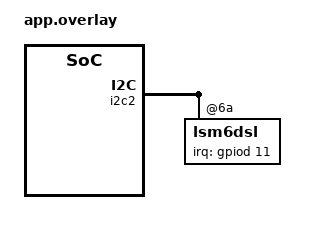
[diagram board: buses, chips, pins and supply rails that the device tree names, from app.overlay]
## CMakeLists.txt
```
# SPDX-License-Identifier: Apache-2.0

cmake_minimum_required(VERSION 3.20.0)
find_package(Zephyr REQUIRED HINTS $ENV{ZEPHYR_BASE})
project(blinky)

target_sources(app PRIVATE src/main.c
                src/ble_manager.c
                src/nvs_manager.c)
```

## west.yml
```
manifest:
  version: "0.13"

  remotes:
    - name: zephyrproject
      url-base: https://github.com/zephyrproject-rtos

  projects:
    - name: zephyr
      remote: zephyrproject
      revision: v4.3.0
      import: true

  self:
    path: .
```

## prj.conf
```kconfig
# Essential config
CONFIG_GPIO=y
CONFIG_SERIAL=y
CONFIG_PRINTK=y
CONFIG_NEWLIB_LIBC=y
CONFIG_PICOLIBC=n
CONFIG_STDOUT_CONSOLE=y


# Required for printing sensor values (float support)
CONFIG_CBPRINTF_FP_SUPPORT=y

# Sensors config
CONFIG_SENSOR=y
CONFIG_I2C=y
CONFIG_HTS221=y
CONFIG_LSM6DSL=y
CONFIG_LSM6DSL_TRIGGER_GLOBAL_THREAD=y      #Trigger = Interrupt mode

# Bluetooth config
CONFIG_BT=y
CONFIG_BT_PERIPHERAL=y
CONFIG_BT_DEVICE_NAME="SentriNode_v1"
CONFIG_BT_GATT_CLIENT=y

# NVS and Flash config
CONFIG_FLASH=y
CONFIG_FLASH_MAP=y
CONFIG_NVS=y
CONFIG_MPU_ALLOW_FLASH_WRITE=y
CONFIG_SOC_FLASH_STM32=y
CONFIG_FLASH_PAGE_LAYOUT=y

# Enable logging
CONFIG_LOG=y
CONFIG_NVS_LOG_LEVEL_DBG=y

# Enable Thread Analyzer
# CONFIG_THREAD_ANALYZER=y
# CONFIG_THREAD_ANALYZER_USE_PRINTK=y
# CONFIG_THREAD_ANALYZER_AUTO=y
# CONFIG_THREAD_ANALYZER_AUTO_INTERVAL=30

# # Required for thread names and timing
# CONFIG_THREAD_NAME=y
# CONFIG_SCHED_THREAD_USAGE=y
# CONFIG_SCHED_THREAD_USAGE_ALL=y
```

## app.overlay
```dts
&i2c2 {
    status="okay";
    lsm6dsl: lsm6dsl@6a {
		irq-gpios = <&gpiod 11 GPIO_ACTIVE_HIGH>;
	};
};

&flash0 {
    status="okay";
};
```

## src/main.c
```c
#include <math.h>
#include <zephyr/sys/atomic.h>
#include "ble_manager.h"
#include "nvs_manager.h"
#include <zephyr/drivers/gpio.h>

#define SECURITY_PRIO 5     // Higher priority
#define ENV_PRIO      7
#define STACK_SIZE    1024

#define LED0_NODE DT_ALIAS(led0)
#define LED1_NODE DT_ALIAS(led1)

K_SEM_DEFINE(tamper_sem, 0, 1); // Starts at 0, max 1

static int lsm6dsl_trig_cnt = 0;

enum system_state {
    STATE_INITIALIZING,
    STATE_SENSING,
    STATE_TAMPER
};

enum system_event {
    EVENT_NONE,
    EVENT_SENSOR_UPDATE,
    EVENT_TAMPER_DETECTED
};

// Define the system event queue.
struct system_event_queue {
    enum system_event type;
};

K_MSGQ_DEFINE(sys_event_q, sizeof(struct system_event_queue), 10, 4);

void env_thread_entry(void *p1, void *p2, void *p3) 
{
    /* const struct device *dev = (const struct device *)p1;
    struct sensor_value temperature, humidity;
    int ret; */
    while(1)
    {
        struct system_event_queue evt = { .type = EVENT_SENSOR_UPDATE };
        k_msgq_put(&sys_event_q, &evt, K_NO_WAIT);
        // hts221 logic here, polling mode for hts221.
        /* ret = sensor_sample_fetch(dev);
        sensor_channel_get(dev, SENSOR_CHAN_AMBIENT_TEMP, &temperature);
        sensor_channel_get(dev, SENSOR_CHAN_HUMIDITY, &humidity);

        double temp = sensor_value_to_double(&temperature);
        double hum = sensor_value_to_double(&humidity);
        ble_temp = temp;
        ble_hum = hum;

        ble_notify_temp_hum(ble_temp, ble_hum); */

        // printk("Temp: %.2f deg celsius.\n", temp);
        // printk("Humidity: %.2f percent.\n", hum);

        k_sleep(K_MSEC(5000));
    }
}

void security_thread_entry(void *p1, void *p2, void *p3) 
{
    const struct device *dev = (const struct device *)p1;
    char out_str[64];
    static struct sensor_value accel_x, accel_y, accel_z;
	static struct sensor_value gyro_x, gyro_y, gyro_z;
    const double GRAVITY = 9.81;
    const double THRESHOLD = 2.5;
    int ret;
    while(1)
    {
        // lsm6dsl accelerometer logic for vibration, ISR to task offloading using semaphore.
        if (k_sem_take(&tamper_sem, K_FOREVER) == 0) {
            
            // 1. Capture detailed sensor data
            ret = sensor_sample_fetch(dev);
	        sensor_channel_get(dev, SENSOR_CHAN_ACCEL_X, &accel_x);
	        sensor_channel_get(dev, SENSOR_CHAN_ACCEL_Y, &accel_y);
	        sensor_channel_get(dev, SENSOR_CHAN_ACCEL_Z, &accel_z);

	        /* lsm6dsl gyro */
	        ret = sensor_sample_fetch(dev);
	        sensor_channel_get(dev, SENSOR_CHAN_GYRO_X, &gyro_x);
	        sensor_channel_get(dev, SENSOR_CHAN_GYRO_Y, &gyro_y);
	        sensor_channel_get(dev, SENSOR_CHAN_GYRO_Z, &gyro_z);

            // 2. Logic: Is this a real tamper or noise?
            double a_x = sensor_value_to_double(&accel_x);
            double a_y = sensor_value_to_double(&accel_y);
            double a_z = sensor_value_to_double(&accel_z);

            double magnitude = sqrt(a_x*a_x + a_y*a_y + a_z*a_z);
            double delta = fabs(magnitude - GRAVITY);

            if (delta > THRESHOLD) 
            {
                struct system_event_queue evt = { .type = EVENT_TAMPER_DETECTED };
                k_msgq_put(&sys_event_q, &evt, K_NO_WAIT);

                printk("Tamper Event: Interrupt received !\n");

                tamper_status = 1;
                // Increment the tamper_total_count, make it atomic operation.
                atomic_inc(&tamper_total_count);
                
                uint32_t tamper_count = (uint32_t)atomic_get(&tamper_total_count);
                // 3. BLE: Notify the Gateway
                ble_notify_tamper(tamper_status, (uint32_t)tamper_count);

                // Write to NVS
                // nvs_write_tamper_count((uint32_t*)tamper_count);
                // nvs_stress_test();
                nvs_write_data(NVS_TAMPER_COUNT_ID, &tamper_count, sizeof(tamper_count));

                printk("ALERT: Tamper detected! Delta: %.2f m/s^2  Count: %d\n", delta, tamper_total_count);

            }
            
            k_sleep(K_MSEC(1000));

            // Reset tamper_status 
            tamper_status = 0;
            // bt_gatt_notify(NULL, tamper_attr, &tamper_status, sizeof(tamper_status));
        }
    }
}

/* FSM functions */
void process_send_temp_hum(const struct device *dev)
{
    struct sensor_value temperature, humidity;
    int ret;

    // hts221 logic here, polling mode for hts221.
    ret = sensor_sample_fetch(dev);
    sensor_channel_get(dev, SENSOR_CHAN_AMBIENT_TEMP, &temperature);
    sensor_channel_get(dev, SENSOR_CHAN_HUMIDITY, &humidity);

    double temp = sensor_value_to_double(&temperature);
    double hum = sensor_value_to_double(&humidity);
    ble_temp = temp;
    ble_hum = hum;

    ble_notify_temp_hum(ble_temp, ble_hum);
}

void notify_store_tamper_event(void)
{
    tamper_status = 1;
    // Increment the tamper_total_count, make it atomic operation.
    atomic_inc(&tamper_total_count);
    
    uint32_t tamper_count = (uint32_t)atomic_get(&tamper_total_count);
    // 3. BLE: Notify the Gateway
    ble_notify_tamper(tamper_status, (uint32_t)tamper_count);

    // Write to NVS
    nvs_write_data(NVS_TAMPER_COUNT_ID, &tamper_count, sizeof(tamper_count));

    printk("ALERT: Tamper detected! Count: %d\n", tamper_total_count);
    
    // Reset tamper_status 
    tamper_status = 0;
    ble_notify_tamper(tamper_status, (uint32_t)tamper_count);
}

/* FSM functions end */

// Interrupt handler (ISR) for lsm6dsl accelerometer sensor.
static void lsm6dsl_trigger_handler(const struct device *dev,
                                    const struct sensor_trigger *trig)
{
    // Give the semaphore. Keeping it short here.
    k_sem_give(&tamper_sem);
    lsm6dsl_trig_cnt++;
}

static void lsm6dsl_trigger_config(const struct device *accel_dev)
{
    struct sensor_trigger trig;
    struct sensor_value odr;
    

    // Trigger interrupt on data ready.
    trig.type = SENSOR_TRIG_DATA_READY;
    trig.chan = SENSOR_CHAN_ACCEL_XYZ;

    odr.val1 = 104;
    odr.val2 = 0;


    if (sensor_attr_set(accel_dev, SENSOR_CHAN_ACCEL_XYZ, SENSOR_ATTR_SAMPLING_FREQUENCY, &odr) < 0) 
    {
        printk("Cannot set sampling frequency for accelerometer.\n");
        return 0;
    }

    if (sensor_attr_set(accel_dev, SENSOR_CHAN_GYRO_XYZ, SENSOR_ATTR_SAMPLING_FREQUENCY, &odr) < 0) 
    {
        printk("Cannot set sampling frequency for gyro.\n");
        return 0;
    }

    if (sensor_trigger_set(accel_dev, &trig, lsm6dsl_trigger_handler) != 0)
    {
        printk("Could not set sensor type and channel\n");
		return 0;
    }
}

// Define the two threads.
K_THREAD_DEFINE(env_id, STACK_SIZE, env_thread_entry, DEVICE_DT_GET_ONE(st_hts221), NULL, NULL, ENV_PRIO, 0, 0);
K_THREAD_DEFINE(sec_id, STACK_SIZE, security_thread_entry, DEVICE_DT_GET_ONE(st_lsm6dsl), NULL, NULL, SECURITY_PRIO, 0, 0);

int main(void) 
{
    int err;
    enum system_state current_state = STATE_INITIALIZING;

    printk("Starting up Sentrinode ...\n");
    const struct device *const lsm6dsl_dev = DEVICE_DT_GET_ONE(st_lsm6dsl);
    const struct device *const hts221_dev = DEVICE_DT_GET_ONE(st_hts221);
    static const struct gpio_dt_spec led0 = GPIO_DT_SPEC_GET(LED0_NODE, gpios);
    static const struct gpio_dt_spec led1 = GPIO_DT_SPEC_GET(LED1_NODE, gpios);

    if (!device_is_ready(lsm6dsl_dev)) {
		printk("Sensor: Accelerometer not ready.\n");
		return 0;
	}

    if (!device_is_ready(hts221_dev)) {
        printk("Sensor: Environment data sensor HTS221 not ready.\n");
        return 0;
    }

    if (!gpio_is_ready_dt(&led0)) {
        printk("LED0 device not ready\n");
        return 0;
	}

    if (!gpio_is_ready_dt(&led1)) {
        printk("LED1 device not ready\n");
        return 0;
	}

    int ret = gpio_pin_configure_dt(&led0, GPIO_OUTPUT_INACTIVE);
	if (ret < 0) {
		return 0;
	}

    ret = gpio_pin_configure_dt(&led1, GPIO_OUTPUT_INACTIVE);
	if (ret < 0) {
		return 0;
	}

    // Initialize the NVS
    init_nvs();

    uint32_t temp_buffer = 0xDEADBEEF; // Start with a "Magic Number"

    // 2. Capture the exact return code
    int rc = nvs_read_data(NVS_TAMPER_COUNT_ID, &temp_buffer, sizeof(temp_buffer));

    printk("--- NVS Diagnostic ---\n");
    printk("Return Code (rc): %d\n", rc);
    printk("Buffer Value Hex: 0x%08x\n", temp_buffer);
    printk("Buffer Value Dec: %u\n", temp_buffer);

    if (rc == sizeof(temp_buffer)) {
        tamper_total_count = temp_buffer;
        printk("NVS startup read: Success! Using stored value.\n");
    } else {
        tamper_total_count = 0;
        printk("NVS startup read: Failure/Not Found. Resetting to 0.\n");
    }
    printk("----------------------\n");

    lsm6dsl_trigger_config(lsm6dsl_dev);

    err = bt_enable(NULL);
    if (err) {
        printk("Bluetooth init failed (err %d)\n", err);
        return 0;
    }

    /* Start Advertising */
    err = bt_le_adv_start(BT_LE_ADV_CONN_FAST_2, ad, ARRAY_SIZE(ad), sd, ARRAY_SIZE(sd));
    if (err) {
            printk("Advertising failed to start (err %d)\n", err);
            return 0;
    }

    while(1) 
    {
        // Wait for an event from any thread
        struct system_event_queue evt;
        k_msgq_get(&sys_event_q, &evt, K_FOREVER);

        printk("Event received: %d\n", evt.type);
        switch (current_state)
        {        
        case STATE_INITIALIZING:
            printk("System State: INITIALIZING\n");
            if (evt.type == EVENT_SENSOR_UPDATE) {
                current_state = STATE_SENSING;
            } else if (evt.type == EVENT_TAMPER_DETECTED) {
                current_state = STATE_TAMPER;
            } else {
                // Stay in initializing until we get a valid event
            }
            break;
        case STATE_SENSING:
            printk("System State: SENSING\n");
            if (evt.type == EVENT_TAMPER_DETECTED) {
                current_state = STATE_TAMPER;
                gpio_pin_set_dt(&led0, 0); // Turn off LED0 to indicate state change
                gpio_pin_set_dt(&led1, 1); // Turn on LED1 to indicate tamper
            } else {
                // Stay in sensing state
                process_send_temp_hum(hts221_dev);
                gpio_pin_toggle_dt(&led0);
            }
            break;
        case STATE_TAMPER:
            printk("System State: TAMPER\n");
            current_state = STATE_SENSING;
            gpio_pin_set_dt(&led1, 0); // Turn off LED1 to indicate state change
            break;
        default:
            break;
        }
        
        k_sleep(K_MSEC(2000));
    }

}
```

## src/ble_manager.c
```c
#include "ble_manager.h"

int16_t ble_temp = 0;
uint16_t ble_hum = 0;
uint8_t  tamper_status = 0; // 0: OK, 1: ALERT
atomic_t tamper_total_count = 0;

const struct bt_uuid_16 ess_uuid = BT_UUID_INIT_16(BT_UUID_ESS_VAL);
const struct bt_uuid_16 temp_uuid = BT_UUID_INIT_16(BT_UUID_TEMP_VAL);
const struct bt_uuid_16 hum_uuid = BT_UUID_INIT_16(BT_UUID_HUM_VAL);

const struct bt_uuid_128 sentri_sec_uuid = BT_UUID_INIT_128(BT_UUID_SENTRI_SEC_VAL);
const struct bt_uuid_16 sentri_tamper_status = BT_UUID_INIT_16(BT_UUID_SENTRI_TAMPER_STATUS);
const struct bt_uuid_16 sentri_tamper_count = BT_UUID_INIT_16(BT_UUID_SENTRI_TAMPER_COUNT);


/* -------------------------- Bluetooth related callbacks ------------------------------------------------------- */

/* Callback: Triggered when a remote device tries to READ the temp value */
ssize_t read_temp(struct bt_conn *conn, const struct bt_gatt_attr *attr,
    void *buf, uint16_t len, uint16_t offset)
{
    return bt_gatt_attr_read(conn, attr, buf, len, offset, &ble_temp, sizeof(ble_temp));
}

/* Callback: Triggered when a remote device tries to READ the humidity value */
ssize_t read_hum(struct bt_conn *conn, const struct bt_gatt_attr *attr,
    void *buf, uint16_t len, uint16_t offset)
{
    return bt_gatt_attr_read(conn, attr, buf, len, offset, &ble_hum, sizeof(ble_temp));
}

/* Callback: Triggered when a remote device tries to READ the tamper_status value */
ssize_t read_tamper_status(struct bt_conn *conn, const struct bt_gatt_attr *attr,
    void *buf, uint16_t len, uint16_t offset)
{
    return bt_gatt_attr_read(conn, attr, buf, len, offset, &tamper_status, sizeof(tamper_status));
}

/* Callback: Triggered when a remote device tries to READ the tamper_count value */
ssize_t read_tamper_count(struct bt_conn *conn, const struct bt_gatt_attr *attr,
    void *buf, uint16_t len, uint16_t offset)
{
    return bt_gatt_attr_read(conn, attr, buf, len, offset, &tamper_total_count, sizeof(tamper_total_count));
}

/* Callback for the CCCD, enable/disable notifications from the phone, can be used to control sensor power */
void tamper_ccc_cfg_changed(const struct bt_gatt_attr *attr, uint16_t value)
{
    bool notif_enabled = (value == BT_GATT_CCC_NOTIFY);
    printk("Tamper Notifications %s\n", notif_enabled ? "Enabled" : "Disabled");
}

/* --------------------------------------- Bluetooth callbacks end ------------------------------------------------ */

BT_GATT_SERVICE_DEFINE(ess_sentri_svc,
    BT_GATT_PRIMARY_SERVICE(&ess_uuid),
    BT_GATT_CHARACTERISTIC(&temp_uuid.uuid,
                           BT_GATT_CHRC_READ | BT_GATT_CHRC_NOTIFY,
                           BT_GATT_PERM_READ,
                           read_temp, NULL, &ble_temp),
    BT_GATT_CHARACTERISTIC(&hum_uuid.uuid,
                           BT_GATT_CHRC_READ | BT_GATT_CHRC_NOTIFY,
                           BT_GATT_PERM_READ,
                           read_hum, NULL, &ble_hum),
    
    // Security service Read + Notify
    BT_GATT_PRIMARY_SERVICE(&sentri_sec_uuid),
    BT_GATT_CHARACTERISTIC(&sentri_tamper_status.uuid,
                           BT_GATT_CHRC_READ | BT_GATT_CHRC_NOTIFY,
                           BT_GATT_PERM_READ,
                           read_tamper_status, NULL, &tamper_status),
    BT_GATT_CCC(tamper_ccc_cfg_changed, BT_GATT_PERM_READ | BT_GATT_PERM_WRITE),
    BT_GATT_CHARACTERISTIC(&sentri_tamper_count.uuid,
                           BT_GATT_CHRC_READ | BT_GATT_CHRC_NOTIFY,
                           BT_GATT_PERM_READ,
                           read_tamper_count, NULL, &tamper_total_count),     
    BT_GATT_CCC(NULL, BT_GATT_PERM_READ | BT_GATT_PERM_WRITE),               
);

/* BLE Connection callbacks */

void connected(struct bt_conn *conn, uint8_t conn_err)
{
	char addr[BT_ADDR_LE_STR_LEN];

	bt_addr_le_to_str(bt_conn_get_dst(conn), addr, sizeof(addr));

	if (conn_err != BT_HCI_ERR_SUCCESS) {
		printk("Failed to connect to %s (%u)\n", addr, conn_err);
		return;
	}

	printk("Connected: %s\n", addr);
}

void disconnected(struct bt_conn *conn, uint8_t reason)
{
	char addr[BT_ADDR_LE_STR_LEN];

	bt_addr_le_to_str(bt_conn_get_dst(conn), addr, sizeof(addr));

	printk("Disconnected: %s (reason 0x%02x)\n", addr, reason);
}

void recycled(void)
{
    int err;
    err = bt_le_adv_start(BT_LE_ADV_CONN_FAST_2, ad, ARRAY_SIZE(ad), sd, ARRAY_SIZE(sd));
	if (err != 0) {
		printk("Advertising failed to start (err %d)\n", err);
	}
}

// Register the connection callbacks
BT_CONN_CB_DEFINE(conn_callbacks) = {
	.connected = connected,
	.disconnected = disconnected,
	.recycled = recycled,
};

/* BLE Connection Callbacks end */

void ble_notify_temp_hum(int16_t temp, uint16_t hum)
{
    bt_gatt_notify(NULL, &ess_sentri_svc.attrs[1], &ble_temp, sizeof(ble_temp));
    bt_gatt_notify(NULL, &ess_sentri_svc.attrs[1], &ble_hum, sizeof(ble_hum));
}

void ble_notify_tamper(uint8_t tamper_status, uint32_t tamper_count)
{
    const struct bt_gatt_attr *tamper_stat_attr = bt_gatt_find_by_uuid(ess_sentri_svc.attrs, 
        ess_sentri_svc.attr_count, 
        &sentri_tamper_status.uuid);
    bt_gatt_notify(NULL, tamper_stat_attr, &tamper_status, sizeof(tamper_status));

    const struct bt_gatt_attr *tamper_count_attr = bt_gatt_find_by_uuid(ess_sentri_svc.attrs, 
             ess_sentri_svc.attr_count, 
             &sentri_tamper_count.uuid);
    bt_gatt_notify(NULL, tamper_count_attr, &tamper_count, sizeof(tamper_count));
}
```

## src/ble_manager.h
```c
#ifndef BLE_MANAGER_H
#define BLE_MANAGER_H

#include <zephyr/kernel.h>
#include <zephyr/device.h>
#include <zephyr/drivers/sensor.h>
#include <stdio.h>
#include <zephyr/sys/util.h>
#include <zephyr/bluetooth/bluetooth.h>
#include <zephyr/bluetooth/hci.h>
#include <zephyr/bluetooth/conn.h>
#include <zephyr/bluetooth/uuid.h>
#include <zephyr/bluetooth/gatt.h>

// Define Bluetooth UUIDS
#define BT_UUID_ESS_VAL 0x181a
#define BT_UUID_TEMP_VAL 0x2a6e
#define BT_UUID_HUM_VAL 0x2a6f

#define BT_UUID_SENTRI_SEC_VAL BT_UUID_128_ENCODE(0x12345678, 0x1234, 0x5678, 0x1234, 0x56789abcdef0)
#define BT_UUID_SENTRI_TAMPER_STATUS 0x9901
#define BT_UUID_SENTRI_TAMPER_COUNT 0x9902

extern const struct bt_uuid_16 ess_uuid;
extern const struct bt_uuid_16 temp_uuid;
extern const struct bt_uuid_16 hum_uuid;

extern const struct bt_uuid_128 sentri_sec_uuid;
extern const struct bt_uuid_16 sentri_tamper_status;
extern const struct bt_uuid_16 sentri_tamper_count;

extern int16_t ble_temp;
extern uint16_t ble_hum;
extern uint8_t  tamper_status; // 0: OK, 1: ALERT
extern atomic_t tamper_total_count;

ssize_t read_temp(struct bt_conn *conn, const struct bt_gatt_attr *attr,
                  void *buf, uint16_t len, uint16_t offset);

ssize_t read_hum(struct bt_conn *conn, const struct bt_gatt_attr *attr,
                 void *buf, uint16_t len, uint16_t offset);

ssize_t read_tamper_status(struct bt_conn *conn, const struct bt_gatt_attr *attr,
                           void *buf, uint16_t len, uint16_t offset);

ssize_t read_tamper_count(struct bt_conn *conn, const struct bt_gatt_attr *attr,
                          void *buf, uint16_t len, uint16_t offset);
                        
/* Callback for the CCCD, enable/disable notifications from the phone, can be used to control sensor power */
void tamper_ccc_cfg_changed(const struct bt_gatt_attr *attr, uint16_t value);


void connected(struct bt_conn *conn, uint8_t conn_err);

void disconnected(struct bt_conn *conn, uint8_t reason);

void recycled(void);

void ble_notify_temp_hum(int16_t temp, uint16_t hum);

void ble_notify_tamper(uint8_t tamper_status, uint32_t tamper_count);

static const struct bt_data ad[] = {
    BT_DATA_BYTES(BT_DATA_FLAGS, (BT_LE_AD_GENERAL | BT_LE_AD_NO_BREDR)),
    /* Advertise the 16-bit Service UUID (0x181A) */
    BT_DATA_BYTES(BT_DATA_UUID16_ALL, BT_UUID_16_ENCODE(BT_UUID_ESS_VAL)),
    /* Advertise the 128-bit Service UUID */
    BT_DATA_BYTES(BT_DATA_UUID128_ALL, BT_UUID_SENTRI_SEC_VAL),
};

/* Packet 2: The "Extra Info" (The Name) */
static const struct bt_data sd[] = {
    BT_DATA(BT_DATA_NAME_COMPLETE, CONFIG_BT_DEVICE_NAME, sizeof(CONFIG_BT_DEVICE_NAME) - 1),
};

#endif
```

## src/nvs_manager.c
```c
#include "nvs_manager.h"

/* ---------------------------- NVS functions ------------------------------------- */


int init_nvs(void) 
{
    int rc = 0;
    struct flash_pages_info info;

    const struct device *flash_dev = FIXED_PARTITION_DEVICE(storage_partition);

    if (!device_is_ready(flash_dev)) {
        printk("Flash device not ready\n");
        return;
    }


    fs.flash_device = flash_dev;
    fs.offset = FIXED_PARTITION_OFFSET(storage_partition);

    // Get flash page info
    rc = flash_get_page_info_by_offs(fs.flash_device, fs.offset, &info);
    if (rc) {
        printk("Flash page info failed: %d\n", rc);
        return rc;
    }

    fs.sector_size = info.size;
    fs.sector_count = 3;            // Using 3 pages

    rc = nvs_mount(&fs);
	if (rc) {
		printk("Flash Init failed, rc=%d\n", rc);
		return rc;
	}
}

int nvs_write_data(uint16_t id, const void *data, size_t len)
{
    int rc;
    rc = nvs_write(&fs, id, data, len);
    if (rc < 0) {
        printk("NVS write error %d\n", rc);
    }
    else {
        printk("NVS write successful, bytes written %d, value written %d\n", len, data);
    }
    return rc;
}

int nvs_read_data(uint16_t id, void *data, size_t len)
{
    int rc;
    rc = nvs_read(&fs, id, data, len);
    if (rc < 0) {
        printk("NVS: No previous count found, starting at 0\n");
    }
    return rc;
}

int nvs_stress_test() 
{
    int rc;
    uint8_t buf[256];

    memset(buf, 0x3c, sizeof(buf));
    printk("--- Starting NVS Stress Test ---\n");

    for (int i = 0; i < 10; i++) {
        // We keep writing to the SAME ID. 
        // NVS will keep appending new versions and "hiding" old ones.
        buf[0] = (uint8_t)i;
        rc = nvs_write(&fs, i, buf, sizeof(buf));
        
        if (rc < 0) {
            printk("Write failed at iteration %d: %d\n", i, rc);
            break;
        }

        // Get info about the filesystem to see it filling up
        ssize_t free_space = nvs_calc_free_space(&fs);
        
        printk("[%d] Write successful. Estimated free space: %zd bytes\n", i, free_space);
    }
    printk("--- Stress Test Complete ---\n");
}

/* ---------------------------- NVS functions end ------------------------------------- */
```

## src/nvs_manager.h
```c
#ifndef NVS_MANAGER_H
#define NVS_MANAGER_H

#include <zephyr/kernel.h>
#include <zephyr/device.h>
#include <zephyr/drivers/sensor.h>
#include <stdio.h>
#include <zephyr/sys/util.h>
#include <zephyr/drivers/flash.h>
#include <zephyr/storage/flash_map.h>
#include <zephyr/fs/nvs.h>
#include <zephyr/types.h>

#define NVS_TAMPER_COUNT_ID 1

static struct nvs_fs fs;

int init_nvs(void);
int nvs_write_data(uint16_t id, const void *data, size_t len);
int nvs_read_data(uint16_t id, void *data, size_t len);

#endif
```
